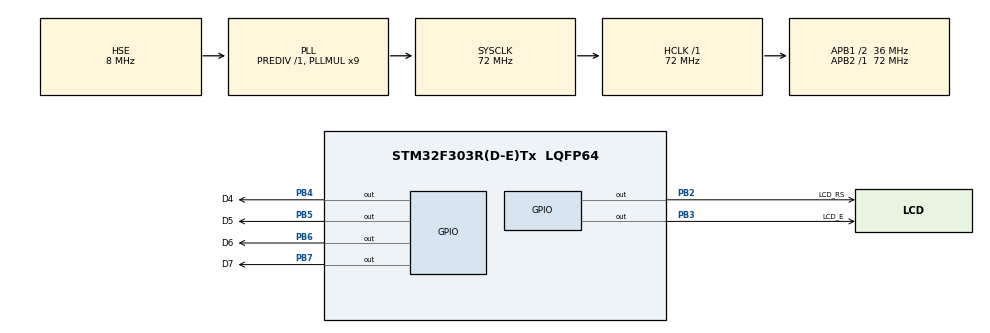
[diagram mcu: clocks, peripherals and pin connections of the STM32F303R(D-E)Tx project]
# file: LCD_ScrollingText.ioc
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Mcu.Family=STM32F3
RCC.PLLSourceVirtual=RCC_PLLSOURCE_HSE
RCC.CortexFreq_Value=72000000
RCC.SYSCLKSourceVirtual=RCC_SYSCLKSOURCE_PLLCLK
PB6.GPIO_Label=D6
RCC.APB1CLKDivider=RCC_HCLK_DIV2
ProjectManager.StackSize=0x400
PA13.Signal=SYS_JTMS-SWDIO
ProjectManager.TargetToolchain=STM32CubeIDE
RCC.HCLKFreq_Value=72000000
RCC.APB2TimFreq_Value=72000000
PB6.Signal=GPIO_Output
PB5.PinState=GPIO_PIN_SET
RCC.USBFreq_Value=72000000
RCC.LSE_VALUE=32768
RCC.AHBFreq_Value=72000000
PF0-OSC_IN.Mode=HSE-External-Oscillator
RCC.HSE_VALUE=8000000
PB2.Signal=GPIO_Output
board=NUCLEO-F303RE
RCC.RCC_PLLsource_Clock_Source_FROM_HSE=RCC_HSE_PREDIV_DIV2
RCC.PLLMUL=RCC_PLL_MUL9
RCC.APB2Freq_Value=72000000
PB4.GPIO_Label=D4
PA14.Mode=Serial_Wire
PB7.Signal=GPIO_Output
PA13.Mode=Serial_Wire
Mcu.Name=STM32F303R(D-E)Tx
PB7.PinState=GPIO_PIN_SET
PB7.GPIO_Label=D7
PB3.Signal=GPIO_Output
RCC.SYSCLKFreq_VALUE=72000000
Mcu.Package=LQFP64
PB5.Signal=GPIO_Output
RCC.EnbaleCSS=true
PB6.PinState=GPIO_PIN_SET
PA14.Signal=SYS_JTCK-SWCLK
PB2.GPIO_Label=LCD_RS
ProjectManager.HeapSize=0x200
RCC.HSI_VALUE=8000000
RCC.PLLP=RCC_PLLP_DIV4
RCC.PLLQ=7
NVIC.PriorityGroup=NVIC_PRIORITYGROUP_0
PB5.GPIO_Label=D5
RCC.PLLM=8
RCC.PLLN=336
RCC.APB1TimFreq_Value=72000000
PF0-OSC_IN.Signal=RCC_OSC_IN
PF1-OSC_OUT.Mode=HSE-External-Oscillator
RCC.APB1Freq_Value=36000000
PB4.PinState=GPIO_PIN_SET
PF1-OSC_OUT.Signal=RCC_OSC_OUT
PB4.Signal=GPIO_Output
PB3.GPIO_Label=LCD_E

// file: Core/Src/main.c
/* USER CODE BEGIN Header */
/**
  ******************************************************************************
  * @file           : main.c
  * @brief          : Main program body
  ******************************************************************************
  * @attention
  *
  * <h2><center>&copy; Copyright (c) 2021 STMicroelectronics.
  * All rights reserved.</center></h2>
  *
  * This software component is licensed by ST under BSD 3-Clause license,
  * the "License"; You may not use this file except in compliance with the
  * License. You may obtain a copy of the License at:
  *                        opensource.org/licenses/BSD-3-Clause
  *
  ******************************************************************************
  */
/* USER CODE END Header */
#include "main.h"

/* USER CODE BEGIN Includes */
#include "string.h"
/* USER CODE END Includes */

/* USER CODE BEGIN PV */
char* msg1 = "TEXT  IS";
char* msg2 = "SCROLLING";
char* empty = "                ";
/* USER CODE END PV */

void SystemClock_Config(void);
static void MX_GPIO_Init(void);
/* USER CODE BEGIN PFP */
void InitLCD(void);
void lcd_init_write(unsigned char value);
void epulse(void);
void delay_us ();
void lcd_cmd(unsigned char cmd);
void lcd_write_data (char harf);
void lcd_data(unsigned char satir, unsigned char sutun, const char *mesaj);
/* USER CODE END PFP */

int main(void)
{

  /* MCU Configuration--------------------------------------------------------*/

  /* Reset of all peripherals, Initializes the Flash interface and the Systick. */
  HAL_Init();

  /* Configure the system clock */
  SystemClock_Config();

  /* Initialize all configured peripherals */
  MX_GPIO_Init();
  /* USER CODE BEGIN 2 */
  InitLCD ();

  lcd_data(1, 5, msg1);
  /* USER CODE END 2 */

  /* Infinite loop */
  /* USER CODE BEGIN WHILE */
  while (1)
  {
	for (int i = 1; i <= 17 - strlen(msg2); i++)
	{
		lcd_data(2, i-1, " ");
		lcd_data(2, i, msg2);

		HAL_Delay(500);
	}

	for (int j = 17 - strlen(msg2); j >= 1; j--)
	{
		lcd_data(2, j + strlen(msg2), " ");
		lcd_data(2, j, msg2);

		HAL_Delay(500);
	}

	/* USER CODE END WHILE */
  }
}

void SystemClock_Config(void)
{
  RCC_OscInitTypeDef RCC_OscInitStruct = {0};
  RCC_ClkInitTypeDef RCC_ClkInitStruct = {0};

  /** Initializes the RCC Oscillators according to the specified parameters
  * in the RCC_OscInitTypeDef structure.
  */
  RCC_OscInitStruct.OscillatorType = RCC_OSCILLATORTYPE_HSE;
  RCC_OscInitStruct.HSEState = RCC_HSE_ON;
  RCC_OscInitStruct.HSIState = RCC_HSI_ON;
  RCC_OscInitStruct.PLL.PLLState = RCC_PLL_ON;
  RCC_OscInitStruct.PLL.PLLSource = RCC_PLLSOURCE_HSE;
  RCC_OscInitStruct.PLL.PLLMUL = RCC_PLL_MUL9;
  RCC_OscInitStruct.PLL.PREDIV = RCC_PREDIV_DIV1;
  if (HAL_RCC_OscConfig(&RCC_OscInitStruct) != HAL_OK)
  {
    Error_Handler();
  }
  /** Initializes the CPU, AHB and APB buses clocks
  */
  RCC_ClkInitStruct.ClockType = RCC_CLOCKTYPE_HCLK|RCC_CLOCKTYPE_SYSCLK
                              |RCC_CLOCKTYPE_PCLK1|RCC_CLOCKTYPE_PCLK2;
  RCC_ClkInitStruct.SYSCLKSource = RCC_SYSCLKSOURCE_PLLCLK;
  RCC_ClkInitStruct.AHBCLKDivider = RCC_SYSCLK_DIV1;
  RCC_ClkInitStruct.APB1CLKDivider = RCC_HCLK_DIV2;
  RCC_ClkInitStruct.APB2CLKDivider = RCC_HCLK_DIV1;

  if (HAL_RCC_ClockConfig(&RCC_ClkInitStruct, FLASH_LATENCY_2) != HAL_OK)
  {
    Error_Handler();
  }
  /** Enables the Clock Security System
  */
  HAL_RCC_EnableCSS();
}

static void MX_GPIO_Init(void)
{
  GPIO_InitTypeDef GPIO_InitStruct = {0};

  /* GPIO Ports Clock Enable */
  __HAL_RCC_GPIOF_CLK_ENABLE();
  __HAL_RCC_GPIOB_CLK_ENABLE();
  __HAL_RCC_GPIOA_CLK_ENABLE();

  /*Configure GPIO pin Output Level */
  HAL_GPIO_WritePin(GPIOB, LCD_RS_Pin|LCD_E_Pin, GPIO_PIN_RESET);

  /*Configure GPIO pin Output Level */
  HAL_GPIO_WritePin(GPIOB, D4_Pin|D5_Pin|D6_Pin|D7_Pin, GPIO_PIN_SET);

  /*Configure GPIO pins : LCD_RS_Pin LCD_E_Pin D4_Pin D5_Pin
                           D6_Pin D7_Pin */
  GPIO_InitStruct.Pin = LCD_RS_Pin|LCD_E_Pin|D4_Pin|D5_Pin
                          |D6_Pin|D7_Pin;
  GPIO_InitStruct.Mode = GPIO_MODE_OUTPUT_PP;
  GPIO_InitStruct.Pull = GPIO_NOPULL;
  GPIO_InitStruct.Speed = GPIO_SPEED_FREQ_LOW;
  HAL_GPIO_Init(GPIOB, &GPIO_InitStruct);

}

/* USER CODE BEGIN 4 */
void InitLCD (void)
{
  HAL_Delay (200);
  lcd_init_write(0x30); //Special Sequence:Write Function Set.
  HAL_Delay (10);
  lcd_init_write(0x30); //Special Sequence:Write Function Set.
  HAL_Delay (10);
  lcd_init_write(0x30); //Special Sequence:Write Function Set.
  HAL_Delay (10);
  lcd_init_write(0x20); //Special Sequence:Write Function Set.
  HAL_Delay (10);

  lcd_cmd(0x28);//Function set(001(DL)NFxx)-DL=0 (4bit), N=1 (2 satir),F=0 (5X8))
  lcd_cmd(0x08);//Display control (0000 1DCB)-display is off, cursor is off, blinking is off
  lcd_cmd(0x01);//Clear Display
  lcd_cmd(0x06);  // Entry mode set (0000 01(I/D)S), Automatic Increment - No Display shift.
   // Initialization ends
  lcd_cmd(0x0C);//Display control(0000 1DCB)--display is on, cursor is off, blinking is off

}
void lcd_init_write(unsigned char value)
{

	HAL_GPIO_WritePin (LCD_RS_GPIO_Port, LCD_RS_Pin,0);  //LCD_RS=0;
	GPIOB->ODR= (GPIOB->ODR & 0x0F) | (value & 0xF0) ;        //Make No Affect on other Port Pins
	epulse(); //Send Enable Signal to LCD
	HAL_GPIO_WritePin (LCD_RS_GPIO_Port, LCD_RS_Pin,1);  //LCD_RS=1;

}
void epulse()
{
	HAL_GPIO_WritePin (LCD_E_GPIO_Port, LCD_E_Pin,1);  //LCD_E=1;
	delay_us();
	HAL_GPIO_WritePin (LCD_E_GPIO_Port, LCD_E_Pin,0);  //LCD_E=0;
	delay_us();
}
void delay_us ()
{
	unsigned int time=680; //delay=1us/170x2x680=8us
	while (time--);

}
void lcd_cmd(unsigned char cmd)
{
	     HAL_GPIO_WritePin (LCD_RS_GPIO_Port, LCD_RS_Pin,0);  //LCD_RS=0;
	     GPIOB->ODR= (GPIOB->ODR & 0x0F) | (cmd & 0xF0) ;        //Make No Affect on other Port Pins
	     //Send Higher Nibble to LCDPORT
	     epulse(); //Send Enable Signal to LCD
	     GPIOB->ODR = (GPIOB->ODR & 0x0f) | (cmd<<4);//Make No Affect on other Port Pins
	     //Send Lower Nibble to LCDPORT
	     epulse(); //Send Enable Signal to LCD
	     HAL_GPIO_WritePin (LCD_RS_GPIO_Port, LCD_RS_Pin,1);  //LCD_RS=1;
	     HAL_Delay(10);

}
void lcd_write_data (char harf)
{
	HAL_GPIO_WritePin (LCD_RS_GPIO_Port, LCD_RS_Pin,1);  //LCD_RS=1;
	GPIOB->ODR = (GPIOB->ODR & 0x0f) | (harf & 0xf0);//Make No Affect on other Port Pins
     //Send Higher Nibble to LCDPORT
    epulse(); //Send Enable Signal to LCD
    GPIOB->ODR = (GPIOB->ODR & 0x0f) | (harf<<4);//Make No Affect on other Port Pins
     //Send Lower Nibble to LCDPORT
     epulse(); //Send Enable Signal to LCD
     HAL_GPIO_WritePin (LCD_RS_GPIO_Port, LCD_RS_Pin,0);  //LCD_RS=0;

     HAL_Delay(10);

}
void lcd_data(unsigned char satir, unsigned char sutun, const char *mesaj)
{
	char temp;

	switch(satir)
	{
		case 1:
			temp=sutun-1+ 0x80;
			break;
		case 2:
			temp= sutun-1+0xc0;
			break;
	}

	lcd_cmd(temp);

	do
	{
		lcd_write_data(*mesaj++);

	}while(*mesaj);

}

/* USER CODE END 4 */

void Error_Handler(void)
{
  __disable_irq();
  while (1)
  {
  }
}

/************************ (C) COPYRIGHT STMicroelectronics *****END OF FILE****/
